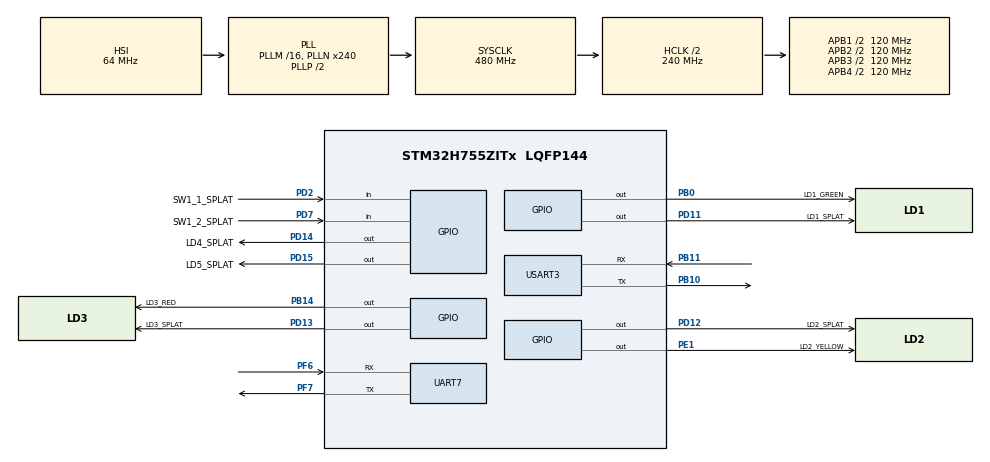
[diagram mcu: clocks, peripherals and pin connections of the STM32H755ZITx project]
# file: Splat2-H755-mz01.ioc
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CortexM4.IPs=BDMA,CORTEX_M4\:I,DEBUG,DMA,FATFS_M4\:I,FREERTOS_M4\:I,IWDG2\:I,MDMA,NVIC2\:I,OPENAMP_M4\:I,PDM2PCM_M4\:I,PWR,RCC,RESMGR_UTILITY,SYS_M4\:I,USB_DEVICE_M4\:I,USB_HOST_M4\:I,VREFBUF,WWDG2\:I
CortexM4.Pins=PD12,PD7
CortexM7.IPs=BDMA\:I,CORTEX_M7\:I,DEBUG\:I,DMA\:I,FATFS_M7\:I,FREERTOS_M7\:I,IWDG1\:I,MDMA\:I,NVIC1\:I,OPENAMP_M7\:I,PDM2PCM_M7\:I,PWR\:I,RCC\:I,RESMGR_UTILITY\:I,SYS\:I,USB_DEVICE_M7\:I,USB_HOST_M7\:I,VREFBUF\:I,WWDG1\:I,UART7\:I,USART3\:I
CortexM7.Pins=PB0,PD11,PD13,PD14,PD15,PD2
FREERTOS_M4.Tasks01=defaultTask,24,128,StartDefaultTask,Default,NULL,Dynamic,NULL,NULL
FREERTOS_M4.configENABLE_FPU=1
FREERTOS_M4.configUSE_NEWLIB_REENTRANT=1
FREERTOS_M7.Tasks01=defaultTask,24,128,StartDefaultTask,Default,NULL,Dynamic,NULL,NULL
FREERTOS_M7.configENABLE_FPU=1
FREERTOS_M7.configUSE_NEWLIB_REENTRANT=1
Mcu.Family=STM32H7
Mcu.Name=STM32H755ZITx
Mcu.Package=LQFP144
NVIC1.PriorityGroup=NVIC_PRIORITYGROUP_4
NVIC1.USART3_IRQn=true\:5\:0\:false\:false\:true\:true\:true\:true
NVIC2.PriorityGroup=NVIC_PRIORITYGROUP_4
PA13\ (JTMS/SWDIO).Mode=Serial_Wire
PA13\ (JTMS/SWDIO).PinAttribute=CortexM7
PA13\ (JTMS/SWDIO).Signal=DEBUG_JTMS-SWDIO
PA14\ (JTCK/SWCLK).Mode=Serial_Wire
PA14\ (JTCK/SWCLK).PinAttribute=CortexM7
PA14\ (JTCK/SWCLK).Signal=DEBUG_JTCK-SWCLK
PB0.GPIO_Label=LD1_GREEN
PB0.PinAttribute=CortexM7
PB0.Signal=GPIO_Output
PB10.Mode=Asynchronous
PB10.PinAttribute=CortexM7
PB10.Signal=USART3_TX
PB11.Mode=Asynchronous
PB11.PinAttribute=CortexM7
PB11.Signal=USART3_RX
PB14.GPIO_Label=LD3_RED
PB14.PinAttribute=Free
PB14.Signal=GPIO_Output
PD11.GPIO_Label=LD1_SPLAT
PD11.PinAttribute=CortexM7
PD11.Signal=GPIO_Output
PD12.GPIO_Label=LD2_SPLAT
PD12.PinAttribute=CortexM4
PD12.Signal=GPIO_Output
PD13.GPIO_Label=LD3_SPLAT
PD13.PinAttribute=CortexM7
PD13.Signal=GPIO_Output
PD14.GPIO_Label=LD4_SPLAT
PD14.PinAttribute=CortexM7
PD14.Signal=GPIO_Output
PD15.GPIO_Label=LD5_SPLAT
PD15.PinAttribute=CortexM7
PD15.PinState=GPIO_PIN_SET
PD15.Signal=GPIO_Output
PD2.GPIO_Label=SW1_1_SPLAT
PD2.GPIO_PuPd=GPIO_PULLUP
PD2.PinAttribute=CortexM7
PD2.Signal=GPIO_Input
PD7.GPIO_Label=SW1_2_SPLAT
PD7.GPIO_PuPd=GPIO_PULLUP
PD7.PinAttribute=CortexM4
PD7.Signal=GPIO_Input
PE1.GPIO_Label=LD2_YELLOW
PE1.PinAttribute=Free
PE1.Signal=GPIO_Output
PF6.Mode=Asynchronous
PF6.PinAttribute=CortexM7
PF6.Signal=UART7_RX
PF7.Mode=Asynchronous
PF7.PinAttribute=CortexM7
PF7.Signal=UART7_TX
ProjectManager.HeapSize=M4-0x200,M7-0x200
ProjectManager.StackSize=M4-0x400,M7-0x400
ProjectManager.TargetToolchain=STM32CubeIDE
RCC.ADCFreq_Value=129000000
RCC.APB1Freq_Value=120000000
RCC.APB2Freq_Value=120000000
RCC.APB3Freq_Value=120000000
RCC.APB4Freq_Value=120000000
RCC.CortexFreq_Value=480000000
RCC.D1PPRE=RCC_APB3_DIV2
RCC.D2PPRE1=RCC_APB1_DIV2
RCC.D2PPRE2=RCC_APB2_DIV2
RCC.D3PPRE=RCC_APB4_DIV2
RCC.DIVM1=16
RCC.DIVN1=240
RCC.HCLKFreq_Value=240000000
RCC.HPRE=RCC_HCLK_DIV2
RCC.SYSCLKFreq_VALUE=480000000
RCC.SYSCLKSource=RCC_SYSCLKSOURCE_PLLCLK
RCC.USBFreq_Value=480000000
SYS.userName=SYS_M7
USART3.VirtualMode-Asynchronous=VM_ASYNC
VP_FREERTOS_M4_VS_CMSIS_V2.Mode=CMSIS_V2
VP_FREERTOS_M7_VS_CMSIS_V2.Mode=CMSIS_V2
VP_SYS_M4_VS_Systick.Mode=SysTick
board=custom

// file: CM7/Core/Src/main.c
/* USER CODE BEGIN Header */
/**
 ******************************************************************************
 * @file           : main.c  M7
 * @brief          : Main program body
 ******************************************************************************
 * @attention
 *
 * Copyright (c) 2022 STMicroelectronics.
 * All rights reserved.
 *
 * This software is licensed under terms that can be found in the LICENSE file
 * in the root directory of this software component.
 * If no LICENSE file comes with this software, it is provided AS-IS.
 *
 ******************************************************************************
 */
/* USER CODE END Header */
#include "main.h"
#include "cmsis_os.h"

/* USER CODE BEGIN Includes */
#include <stdio.h>
/* USER CODE END Includes */

/* USER CODE BEGIN PD */

#ifndef HSEM_ID_0
#define HSEM_ID_0 (0U) /* HW semaphore 0*/
#endif
/* USER CODE END PD */

UART_HandleTypeDef huart7;
UART_HandleTypeDef huart3;

/* Definitions for defaultTask */
osThreadId_t defaultTaskHandle;
const osThreadAttr_t defaultTask_attributes = {
  .name = "defaultTask",
  .stack_size = 128 * 4,
  .priority = (osPriority_t) osPriorityNormal,
};

void SystemClock_Config(void);
static void MX_GPIO_Init(void);
static void MX_UART7_Init(void);
static void MX_USART3_UART_Init(void);
void StartDefaultTask(void *argument);

int main(void)
{
  /* USER CODE BEGIN 1 */
	/***************************** CM7 *************************/
  /* USER CODE END 1 */
/* USER CODE BEGIN Boot_Mode_Sequence_0 */
	int32_t timeout;
/* USER CODE END Boot_Mode_Sequence_0 */

/* USER CODE BEGIN Boot_Mode_Sequence_1 */
	/* Wait until CPU2 boots and enters in stop mode or timeout*/
	timeout = 0xFFFF;
	while ((__HAL_RCC_GET_FLAG(RCC_FLAG_D2CKRDY) != RESET) ) //&& (timeout-- > 0))
	{
		asm("nop");
	}
		;
//	if (timeout < 0) {
//		Error_Handler();
//	}
/* USER CODE END Boot_Mode_Sequence_1 */
  /* MCU Configuration--------------------------------------------------------*/

  /* Reset of all peripherals, Initializes the Flash interface and the Systick. */
  HAL_Init();

  /* Configure the system clock */
  SystemClock_Config();
/* USER CODE BEGIN Boot_Mode_Sequence_2 */
	/* When system initialization is finished, Cortex-M7 will release Cortex-M4 by means of
	 HSEM notification */
	/*HW semaphore Clock enable*/
	__HAL_RCC_HSEM_CLK_ENABLE();
	/*Take HSEM */
	HAL_HSEM_FastTake(HSEM_ID_0);
	/*Release HSEM in order to notify the CPU2(CM4)*/
	HAL_HSEM_Release(HSEM_ID_0, 0);
	/* wait until CPU2 wakes up from stop mode */
	timeout = 0xFFFF;
	while ((__HAL_RCC_GET_FLAG(RCC_FLAG_D2CKRDY) == RESET) && (timeout-- > 0))
		;
	if (timeout < 0) {
		Error_Handler();
	}
/* USER CODE END Boot_Mode_Sequence_2 */

  /* Initialize all configured peripherals */
  MX_GPIO_Init();
  MX_UART7_Init();
  MX_USART3_UART_Init();

  /* Init scheduler */
  osKernelInitialize();

  /* Create the thread(s) */
  /* creation of defaultTask */
  defaultTaskHandle = osThreadNew(StartDefaultTask, NULL, &defaultTask_attributes);

  /* Start scheduler */
  osKernelStart();

  /* We should never get here as control is now taken by the scheduler */
  /* Infinite loop */
	while (1) {

	}
}

void SystemClock_Config(void)
{
  RCC_OscInitTypeDef RCC_OscInitStruct = {0};
  RCC_ClkInitTypeDef RCC_ClkInitStruct = {0};

  /** Supply configuration update enable
  */
  HAL_PWREx_ConfigSupply(PWR_DIRECT_SMPS_SUPPLY);
  /** Configure the main internal regulator output voltage
  */
  __HAL_PWR_VOLTAGESCALING_CONFIG(PWR_REGULATOR_VOLTAGE_SCALE0);

  while(!__HAL_PWR_GET_FLAG(PWR_FLAG_VOSRDY)) {}
  /** Initializes the RCC Oscillators according to the specified parameters
  * in the RCC_OscInitTypeDef structure.
  */
  RCC_OscInitStruct.OscillatorType = RCC_OSCILLATORTYPE_HSI;
  RCC_OscInitStruct.HSIState = RCC_HSI_DIV1;
  RCC_OscInitStruct.HSICalibrationValue = RCC_HSICALIBRATION_DEFAULT;
  RCC_OscInitStruct.PLL.PLLState = RCC_PLL_ON;
  RCC_OscInitStruct.PLL.PLLSource = RCC_PLLSOURCE_HSI;
  RCC_OscInitStruct.PLL.PLLM = 16;
  RCC_OscInitStruct.PLL.PLLN = 240;
  RCC_OscInitStruct.PLL.PLLP = 2;
  RCC_OscInitStruct.PLL.PLLQ = 2;
  RCC_OscInitStruct.PLL.PLLR = 2;
  RCC_OscInitStruct.PLL.PLLRGE = RCC_PLL1VCIRANGE_2;
  RCC_OscInitStruct.PLL.PLLVCOSEL = RCC_PLL1VCOWIDE;
  RCC_OscInitStruct.PLL.PLLFRACN = 0;
  if (HAL_RCC_OscConfig(&RCC_OscInitStruct) != HAL_OK)
  {
    Error_Handler();
  }
  /** Initializes the CPU, AHB and APB buses clocks
  */
  RCC_ClkInitStruct.ClockType = RCC_CLOCKTYPE_HCLK|RCC_CLOCKTYPE_SYSCLK
                              |RCC_CLOCKTYPE_PCLK1|RCC_CLOCKTYPE_PCLK2
                              |RCC_CLOCKTYPE_D3PCLK1|RCC_CLOCKTYPE_D1PCLK1;
  RCC_ClkInitStruct.SYSCLKSource = RCC_SYSCLKSOURCE_PLLCLK;
  RCC_ClkInitStruct.SYSCLKDivider = RCC_SYSCLK_DIV1;
  RCC_ClkInitStruct.AHBCLKDivider = RCC_HCLK_DIV2;
  RCC_ClkInitStruct.APB3CLKDivider = RCC_APB3_DIV2;
  RCC_ClkInitStruct.APB1CLKDivider = RCC_APB1_DIV2;
  RCC_ClkInitStruct.APB2CLKDivider = RCC_APB2_DIV2;
  RCC_ClkInitStruct.APB4CLKDivider = RCC_APB4_DIV2;

  if (HAL_RCC_ClockConfig(&RCC_ClkInitStruct, FLASH_LATENCY_4) != HAL_OK)
  {
    Error_Handler();
  }
}

static void MX_UART7_Init(void)
{

  huart7.Instance = UART7;
  huart7.Init.BaudRate = 115200;
  huart7.Init.WordLength = UART_WORDLENGTH_8B;
  huart7.Init.StopBits = UART_STOPBITS_1;
  huart7.Init.Parity = UART_PARITY_NONE;
  huart7.Init.Mode = UART_MODE_TX_RX;
  huart7.Init.HwFlowCtl = UART_HWCONTROL_NONE;
  huart7.Init.OverSampling = UART_OVERSAMPLING_16;
  huart7.Init.OneBitSampling = UART_ONE_BIT_SAMPLE_DISABLE;
  huart7.Init.ClockPrescaler = UART_PRESCALER_DIV1;
  huart7.AdvancedInit.AdvFeatureInit = UART_ADVFEATURE_NO_INIT;
  if (HAL_UART_Init(&huart7) != HAL_OK)
  {
    Error_Handler();
  }
  if (HAL_UARTEx_SetTxFifoThreshold(&huart7, UART_TXFIFO_THRESHOLD_1_8) != HAL_OK)
  {
    Error_Handler();
  }
  if (HAL_UARTEx_SetRxFifoThreshold(&huart7, UART_RXFIFO_THRESHOLD_1_8) != HAL_OK)
  {
    Error_Handler();
  }
  if (HAL_UARTEx_DisableFifoMode(&huart7) != HAL_OK)
  {
    Error_Handler();
  }

}

static void MX_USART3_UART_Init(void)
{

  huart3.Instance = USART3;
  huart3.Init.BaudRate = 115200;
  huart3.Init.WordLength = UART_WORDLENGTH_8B;
  huart3.Init.StopBits = UART_STOPBITS_1;
  huart3.Init.Parity = UART_PARITY_NONE;
  huart3.Init.Mode = UART_MODE_TX_RX;
  huart3.Init.HwFlowCtl = UART_HWCONTROL_NONE;
  huart3.Init.OverSampling = UART_OVERSAMPLING_16;
  huart3.Init.OneBitSampling = UART_ONE_BIT_SAMPLE_DISABLE;
  huart3.Init.ClockPrescaler = UART_PRESCALER_DIV1;
  huart3.AdvancedInit.AdvFeatureInit = UART_ADVFEATURE_NO_INIT;
  if (HAL_UART_Init(&huart3) != HAL_OK)
  {
    Error_Handler();
  }
  if (HAL_UARTEx_SetTxFifoThreshold(&huart3, UART_TXFIFO_THRESHOLD_1_8) != HAL_OK)
  {
    Error_Handler();
  }
  if (HAL_UARTEx_SetRxFifoThreshold(&huart3, UART_RXFIFO_THRESHOLD_1_8) != HAL_OK)
  {
    Error_Handler();
  }
  if (HAL_UARTEx_DisableFifoMode(&huart3) != HAL_OK)
  {
    Error_Handler();
  }

}

static void MX_GPIO_Init(void)
{
  GPIO_InitTypeDef GPIO_InitStruct = {0};

  /* GPIO Ports Clock Enable */
  __HAL_RCC_GPIOF_CLK_ENABLE();
  __HAL_RCC_GPIOB_CLK_ENABLE();
  __HAL_RCC_GPIOD_CLK_ENABLE();
  __HAL_RCC_GPIOA_CLK_ENABLE();

  /*Configure GPIO pin Output Level */
  HAL_GPIO_WritePin(LD1_GREEN_GPIO_Port, LD1_GREEN_Pin, GPIO_PIN_RESET);

  /*Configure GPIO pin Output Level */
  HAL_GPIO_WritePin(GPIOD, LD1_SPLAT_Pin|LD3_SPLAT_Pin|LD4_SPLAT_Pin, GPIO_PIN_RESET);

  /*Configure GPIO pin Output Level */
  HAL_GPIO_WritePin(LD5_SPLAT_GPIO_Port, LD5_SPLAT_Pin, GPIO_PIN_SET);

  /*Configure GPIO pin : LD1_GREEN_Pin */
  GPIO_InitStruct.Pin = LD1_GREEN_Pin;
  GPIO_InitStruct.Mode = GPIO_MODE_OUTPUT_PP;
  GPIO_InitStruct.Pull = GPIO_NOPULL;
  GPIO_InitStruct.Speed = GPIO_SPEED_FREQ_LOW;
  HAL_GPIO_Init(LD1_GREEN_GPIO_Port, &GPIO_InitStruct);

  /*Configure GPIO pins : LD1_SPLAT_Pin LD3_SPLAT_Pin LD4_SPLAT_Pin LD5_SPLAT_Pin */
  GPIO_InitStruct.Pin = LD1_SPLAT_Pin|LD3_SPLAT_Pin|LD4_SPLAT_Pin|LD5_SPLAT_Pin;
  GPIO_InitStruct.Mode = GPIO_MODE_OUTPUT_PP;
  GPIO_InitStruct.Pull = GPIO_NOPULL;
  GPIO_InitStruct.Speed = GPIO_SPEED_FREQ_LOW;
  HAL_GPIO_Init(GPIOD, &GPIO_InitStruct);

  /*Configure GPIO pin : SW1_1_SPLAT_Pin */
  GPIO_InitStruct.Pin = SW1_1_SPLAT_Pin;
  GPIO_InitStruct.Mode = GPIO_MODE_INPUT;
  GPIO_InitStruct.Pull = GPIO_PULLUP;
  HAL_GPIO_Init(SW1_1_SPLAT_GPIO_Port, &GPIO_InitStruct);

}

/* USER CODE BEGIN 4 */
int __io_putchar(char ch)
{
    return ITM_SendChar(ch);
}

void HAL_UART_RxCpltCallback(UART_HandleTypeDef *huart) {
	const unsigned char offset = 6;

	HAL_StatusTypeDef stat;
	int len;

//	printf("UART3 RxCpl");
	if (huart->Instance == USART6) { //our UART
		data = rxdatabuf[0];
		flag = 1;

void uart3_rxdone() {
	volatile int i = 0;

	i++;		// bkpt placeholder

//	printf("UART3 Rx Complete\n");
}

// Transmit completed callback
void HAL_UART_TxCpltCallback(UART_HandleTypeDef *huart) {
	volatile int i = 0;

	if (huart->Instance == UART5) {

	i++;		// bkpt placeholder
	}
}

/* USER CODE END 4 */

void StartDefaultTask(void *argument)
{
  /* USER CODE BEGIN 5 */
	unsigned int i;

	printf("Hi from M7\n");
	/* Infinite loop */
	for (i=0;;i++) {
		HAL_GPIO_TogglePin(LD4_SPLAT_GPIO_Port, LD4_SPLAT_Pin);
		osDelay(210);
//		printf("%d hello from M7\n",i);

		HAL_UART_Receiv(&huart3, (uint8_t*) &ch, 1, 10);
		printf("Got %c\n",ch)
		}
  /* USER CODE END 5 */
}

void Error_Handler(void)
{
	__disable_irq();
	while (1) {
	}
}
